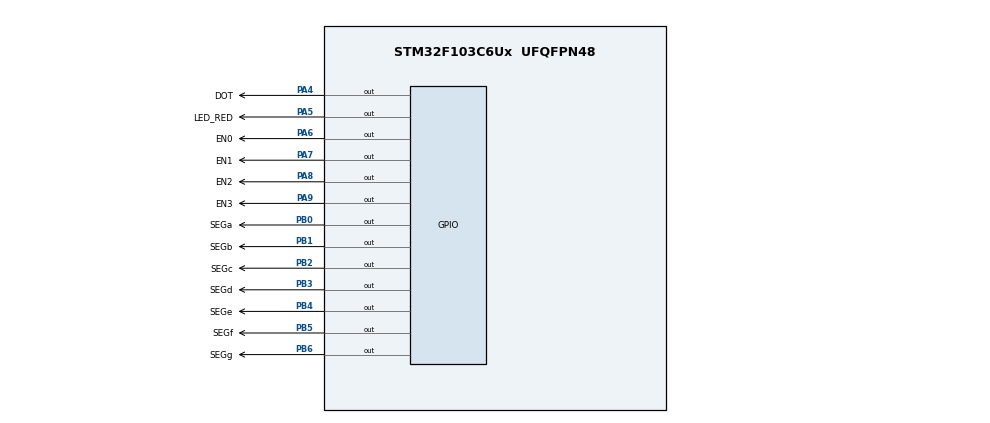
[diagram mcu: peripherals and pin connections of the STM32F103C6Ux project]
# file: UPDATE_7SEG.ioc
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Mcu.Family=STM32F1
Mcu.Name=STM32F103C6Ux
Mcu.Package=UFQFPN48
NVIC.PriorityGroup=NVIC_PRIORITYGROUP_4
NVIC.TIM2_IRQn=true\:0\:0\:false\:false\:true\:true\:true
PA4.GPIO_Label=DOT
PA4.Signal=GPIO_Output
PA5.GPIO_Label=LED_RED
PA5.Signal=GPIO_Output
PA6.GPIO_Label=EN0
PA6.Signal=GPIO_Output
PA7.GPIO_Label=EN1
PA7.Signal=GPIO_Output
PA8.GPIO_Label=EN2
PA8.Signal=GPIO_Output
PA9.GPIO_Label=EN3
PA9.Signal=GPIO_Output
PB0.GPIO_Label=SEGa
PB0.Signal=GPIO_Output
PB1.GPIO_Label=SEGb
PB1.Signal=GPIO_Output
PB2.GPIO_Label=SEGc
PB2.Signal=GPIO_Output
PB3.GPIO_Label=SEGd
PB3.Signal=GPIO_Output
PB4.GPIO_Label=SEGe
PB4.Signal=GPIO_Output
PB5.GPIO_Label=SEGf
PB5.Signal=GPIO_Output
PB6.GPIO_Label=SEGg
PB6.Signal=GPIO_Output
ProjectManager.HeapSize=0x200
ProjectManager.StackSize=0x400
ProjectManager.TargetToolchain=STM32CubeIDE
RCC.APB1Freq_Value=8000000
RCC.APB2Freq_Value=8000000
TIM2.Prescaler=7999
VP_SYS_VS_ND.Mode=No_Debug
VP_TIM2_VS_ClockSourceINT.Mode=Internal
board=custom

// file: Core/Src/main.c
/* USER CODE BEGIN Header */
/**
  ******************************************************************************
  * @file           : main.c
  * @brief          : Main program body
  ******************************************************************************
  * @attention
  *
  * <h2><center>&copy; Copyright (c) 2023 STMicroelectronics.
  * All rights reserved.</center></h2>
  *
  * This software component is licensed by ST under BSD 3-Clause license,
  * the "License"; You may not use this file except in compliance with the
  * License. You may obtain a copy of the License at:
  *                        opensource.org/licenses/BSD-3-Clause
  *
  ******************************************************************************
  */
/* USER CODE END Header */
#include "main.h"

/* USER CODE BEGIN Includes */
#include "software_timer.h"
/* USER CODE END Includes */

TIM_HandleTypeDef htim2;

void SystemClock_Config(void);
static void MX_GPIO_Init(void);
static void MX_TIM2_Init(void);

/* USER CODE BEGIN 0 */
void display7SEG(int num){
	const uint8_t sevenSegment[10] = {	0b00111111, // 0
										0b00000110, // 1
										0b01011011, // 2
										0b01001111, // 3
										0b01100110, // 4
										0b01101101, // 5
										0b01111101, // 6
										0b00000111, // 7
										0b01111111, // 8
										0b01101111  // 9
	};
	HAL_GPIO_WritePin(SEGa_GPIO_Port, SEGa_Pin, ((sevenSegment[num]) & 0x01) ? RESET : SET);
	HAL_GPIO_WritePin(SEGb_GPIO_Port, SEGb_Pin, ((sevenSegment[num] >> 1) & 0x01) ? RESET : SET);
	HAL_GPIO_WritePin(SEGc_GPIO_Port, SEGc_Pin, ((sevenSegment[num] >> 2) & 0x01) ? RESET : SET);
	HAL_GPIO_WritePin(SEGd_GPIO_Port, SEGd_Pin, ((sevenSegment[num] >> 3) & 0x01) ? RESET : SET);
	HAL_GPIO_WritePin(SEGe_GPIO_Port, SEGe_Pin, ((sevenSegment[num] >> 4) & 0x01) ? RESET : SET);
	HAL_GPIO_WritePin(SEGf_GPIO_Port, SEGf_Pin, ((sevenSegment[num] >> 5) & 0x01) ? RESET : SET);
	HAL_GPIO_WritePin(SEGg_GPIO_Port, SEGg_Pin, ((sevenSegment[num] >> 6) & 0x01) ? RESET : SET);
}

const int MAX_LED = 4;
int index_led = 0;
int led_buffer[4] = {2, 0, 2, 3};
void update7SEG(int index){
	display7SEG(led_buffer[index]);
    switch (index){
        case 0:
            //Display the first 7SEG with led_buffer[0]
        	HAL_GPIO_WritePin(EN0_GPIO_Port, EN0_Pin, RESET);
			HAL_GPIO_WritePin(EN1_GPIO_Port, EN1_Pin, SET);
			HAL_GPIO_WritePin(EN2_GPIO_Port, EN2_Pin, SET);
			HAL_GPIO_WritePin(EN3_GPIO_Port, EN3_Pin, SET);
            break;
        case 1:
			//Display the second 7SEG with led_buffer[1]
			HAL_GPIO_WritePin(EN0_GPIO_Port, EN0_Pin, SET);
			HAL_GPIO_WritePin(EN1_GPIO_Port, EN1_Pin, RESET);
			HAL_GPIO_WritePin(EN2_GPIO_Port, EN2_Pin, SET);
			HAL_GPIO_WritePin(EN3_GPIO_Port, EN3_Pin, SET);
            break;
        case 2:
			//Display the third 7SEG with led_buffer[2]
			HAL_GPIO_WritePin(EN0_GPIO_Port, EN0_Pin, SET);
			HAL_GPIO_WritePin(EN1_GPIO_Port, EN1_Pin, SET);
			HAL_GPIO_WritePin(EN2_GPIO_Port, EN2_Pin, RESET);
			HAL_GPIO_WritePin(EN3_GPIO_Port, EN3_Pin, SET);
            break;
        case 3:
            //Display the forth 7SEG with led_buffer[3]
			HAL_GPIO_WritePin(EN0_GPIO_Port, EN0_Pin, SET);
			HAL_GPIO_WritePin(EN1_GPIO_Port, EN1_Pin, SET);
			HAL_GPIO_WritePin(EN2_GPIO_Port, EN2_Pin, SET);
			HAL_GPIO_WritePin(EN3_GPIO_Port, EN3_Pin, RESET);
            break;
        default:
            break;
    }
}
/* USER CODE END 0 */

int main(void)
{

  /* MCU Configuration--------------------------------------------------------*/

  /* Reset of all peripherals, Initializes the Flash interface and the Systick. */
  HAL_Init();

  /* Configure the system clock */
  SystemClock_Config();

  /* Initialize all configured peripherals */
  MX_GPIO_Init();
  MX_TIM2_Init();
  /* USER CODE BEGIN 2 */
  HAL_TIM_Base_Start_IT(&htim2);
  /* USER CODE END 2 */

  /* Infinite loop */
  /* USER CODE BEGIN WHILE */
  setTimer1(10);
  setTimer2(10);
  while (1)
  {
    /* USER CODE END WHILE */

    /* USER CODE BEGIN 3 */
	  if(timer1_flag == 1){
		setTimer1(500);
		update7SEG(index_led++);
		if(index_led == MAX_LED){
			index_led = 0;
		}
	  }
	  if(timer2_flag == 1){
		setTimer2(1000);
		HAL_GPIO_TogglePin(DOT_GPIO_Port, DOT_Pin);
	  }
  }
  /* USER CODE END 3 */
}

void SystemClock_Config(void)
{
  RCC_OscInitTypeDef RCC_OscInitStruct = {0};
  RCC_ClkInitTypeDef RCC_ClkInitStruct = {0};

  /** Initializes the RCC Oscillators according to the specified parameters
  * in the RCC_OscInitTypeDef structure.
  */
  RCC_OscInitStruct.OscillatorType = RCC_OSCILLATORTYPE_HSI;
  RCC_OscInitStruct.HSIState = RCC_HSI_ON;
  RCC_OscInitStruct.HSICalibrationValue = RCC_HSICALIBRATION_DEFAULT;
  RCC_OscInitStruct.PLL.PLLState = RCC_PLL_NONE;
  if (HAL_RCC_OscConfig(&RCC_OscInitStruct) != HAL_OK)
  {
    Error_Handler();
  }
  /** Initializes the CPU, AHB and APB buses clocks
  */
  RCC_ClkInitStruct.ClockType = RCC_CLOCKTYPE_HCLK|RCC_CLOCKTYPE_SYSCLK
                              |RCC_CLOCKTYPE_PCLK1|RCC_CLOCKTYPE_PCLK2;
  RCC_ClkInitStruct.SYSCLKSource = RCC_SYSCLKSOURCE_HSI;
  RCC_ClkInitStruct.AHBCLKDivider = RCC_SYSCLK_DIV1;
  RCC_ClkInitStruct.APB1CLKDivider = RCC_HCLK_DIV1;
  RCC_ClkInitStruct.APB2CLKDivider = RCC_HCLK_DIV1;

  if (HAL_RCC_ClockConfig(&RCC_ClkInitStruct, FLASH_LATENCY_0) != HAL_OK)
  {
    Error_Handler();
  }
}

static void MX_TIM2_Init(void)
{

  TIM_ClockConfigTypeDef sClockSourceConfig = {0};
  TIM_MasterConfigTypeDef sMasterConfig = {0};

  htim2.Instance = TIM2;
  htim2.Init.Prescaler = 7999;
  htim2.Init.CounterMode = TIM_COUNTERMODE_UP;
  htim2.Init.Period = 9;
  htim2.Init.ClockDivision = TIM_CLOCKDIVISION_DIV1;
  htim2.Init.AutoReloadPreload = TIM_AUTORELOAD_PRELOAD_DISABLE;
  if (HAL_TIM_Base_Init(&htim2) != HAL_OK)
  {
    Error_Handler();
  }
  sClockSourceConfig.ClockSource = TIM_CLOCKSOURCE_INTERNAL;
  if (HAL_TIM_ConfigClockSource(&htim2, &sClockSourceConfig) != HAL_OK)
  {
    Error_Handler();
  }
  sMasterConfig.MasterOutputTrigger = TIM_TRGO_RESET;
  sMasterConfig.MasterSlaveMode = TIM_MASTERSLAVEMODE_DISABLE;
  if (HAL_TIMEx_MasterConfigSynchronization(&htim2, &sMasterConfig) != HAL_OK)
  {
    Error_Handler();
  }

}

static void MX_GPIO_Init(void)
{
  GPIO_InitTypeDef GPIO_InitStruct = {0};

  /* GPIO Ports Clock Enable */
  __HAL_RCC_GPIOA_CLK_ENABLE();
  __HAL_RCC_GPIOB_CLK_ENABLE();

  /*Configure GPIO pin Output Level */
  HAL_GPIO_WritePin(GPIOA, DOT_Pin|LED_RED_Pin|EN0_Pin|EN1_Pin
                          |EN2_Pin|EN3_Pin, GPIO_PIN_RESET);

  /*Configure GPIO pin Output Level */
  HAL_GPIO_WritePin(GPIOB, SEGa_Pin|SEGb_Pin|SEGc_Pin|SEGd_Pin
                          |SEGe_Pin|SEGf_Pin|SEGg_Pin, GPIO_PIN_RESET);

  /*Configure GPIO pins : DOT_Pin LED_RED_Pin EN0_Pin EN1_Pin
                           EN2_Pin EN3_Pin */
  GPIO_InitStruct.Pin = DOT_Pin|LED_RED_Pin|EN0_Pin|EN1_Pin
                          |EN2_Pin|EN3_Pin;
  GPIO_InitStruct.Mode = GPIO_MODE_OUTPUT_PP;
  GPIO_InitStruct.Pull = GPIO_NOPULL;
  GPIO_InitStruct.Speed = GPIO_SPEED_FREQ_LOW;
  HAL_GPIO_Init(GPIOA, &GPIO_InitStruct);

  /*Configure GPIO pins : SEGa_Pin SEGb_Pin SEGc_Pin SEGd_Pin
                           SEGe_Pin SEGf_Pin SEGg_Pin */
  GPIO_InitStruct.Pin = SEGa_Pin|SEGb_Pin|SEGc_Pin|SEGd_Pin
                          |SEGe_Pin|SEGf_Pin|SEGg_Pin;
  GPIO_InitStruct.Mode = GPIO_MODE_OUTPUT_PP;
  GPIO_InitStruct.Pull = GPIO_NOPULL;
  GPIO_InitStruct.Speed = GPIO_SPEED_FREQ_LOW;
  HAL_GPIO_Init(GPIOB, &GPIO_InitStruct);

}

/* USER CODE BEGIN 4 */
int counter1 = 0, counter2 = 0;
void HAL_TIM_PeriodElapsedCallback(TIM_HandleTypeDef *htim){
	timerRun();
//	counter1--;
//	if(counter1 <= 0){
//		counter1 = 50;
//		update7SEG(index_led++);
//		if(index_led == MAX_LED){
//			index_led = 0;
//		}
//	}
//	counter2--;
//	if(counter2 <= 0){
//		counter2 = 100;
//		HAL_GPIO_TogglePin(DOT_GPIO_Port, DOT_Pin);
//	}
}
/* USER CODE END 4 */

void Error_Handler(void)
{
  __disable_irq();
  while (1)
  {
  }
}

/************************ (C) COPYRIGHT STMicroelectronics *****END OF FILE****/
